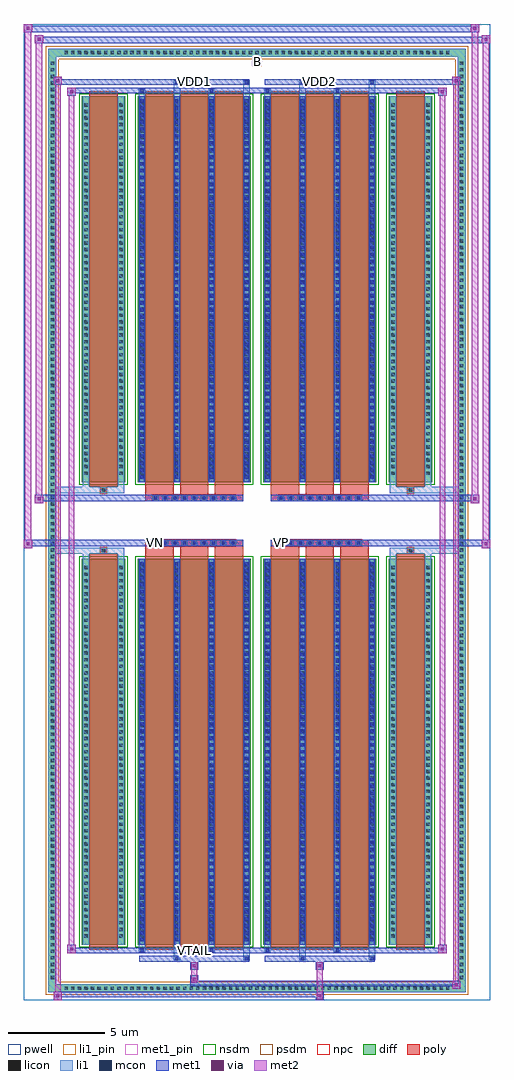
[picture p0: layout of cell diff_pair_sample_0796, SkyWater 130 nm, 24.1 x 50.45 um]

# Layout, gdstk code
import gdstk
lib = gdstk.Library(unit=1e-6, precision=5e-09)
def R(c, l, rs):  # rectangles x0, y0, x1, y1
    for r in rs: c.add(gdstk.rectangle(r[:2], r[2:], *l))
def A(c, l, x, y, w, h, nx, ny, dx, dy):  # array of equal rectangles
    R(c, l, [(x+i*dx, y+j*dy, x+i*dx+w, y+j*dy+h) for i in range(nx) for j in range(ny)])
def P(c, l, *ps):  # polygons
    for p in ps: c.add(gdstk.Polygon(p, *l))
pwell = (64, 44)
diff = (65, 20)
poly = (66, 20)
licon = (66, 44)
li1_pin = (67, 16)
li1 = (67, 20)
mcon = (67, 44)
met1_pin = (68, 16)
met1 = (68, 20)
via = (68, 44)
met2 = (69, 20)
nsdm = (93, 44)
psdm = (94, 20)
npc = (95, 20)

diff_pair_sample_0796 = lib.new_cell('diff_pair_sample_0796')
R(diff_pair_sample_0796, pwell, [(-12.05,-24.79,12.05,25.66), (-9.37,-22.98,-0.01,-0.8), (0.01,-22.98,9.37,-0.8), (-9.37,0.8,-0.01,22.98), (0.01,0.8,9.37,22.98)])
A(diff_pair_sample_0796, diff, -10.065, -24.39, 0.41, 0.41, 59, 2, 0.34, 48.37)
A(diff_pair_sample_0796, diff, -10.78, -23.835, 0.41, 0.41, 1, 140, 0, 0.34)
A(diff_pair_sample_0796, diff, 10.37, -23.835, 0.41, 0.41, 1, 140, 0, 0.34)
R(diff_pair_sample_0796, diff, [(-10.065,-24.39,10.065,-23.98), (-10.78,-23.835,-10.37,23.835), (10.37,-23.835,10.78,23.835), (-9.06,-21.935,-6.81,-1.985), (-6.17,-21.935,-0.32,-1.985), (0.32,-21.935,6.17,-1.985), (6.81,-21.935,9.06,-1.985), (-9.06,1.985,-6.81,21.935), (-6.17,1.985,-0.32,21.935), (0.32,1.985,6.17,21.935), (6.81,1.985,9.06,21.935), (-10.065,23.98,10.065,24.39)])
P(diff_pair_sample_0796, diff, [(10.78,24.39),(-10.78,24.39),(-10.78,-23.98),(-10.37,-23.98),(-10.37,23.98),(10.37,23.98),(10.37,-23.98),(-10.37,-23.98),(-10.78,-23.98),(-10.78,-24.39),(10.78,-24.39)])
A(diff_pair_sample_0796, poly, -5.78, -22.185, 1.47, 20.45, 3, 2, 1.8, 23.92)
A(diff_pair_sample_0796, poly, 0.71, -22.185, 1.47, 20.45, 3, 2, 1.8, 23.92)
A(diff_pair_sample_0796, poly, -5.78, -1.735, 1.47, 0.405, 3, 2, 1.8, 3.065)
A(diff_pair_sample_0796, poly, 0.71, -1.735, 1.47, 0.405, 3, 2, 1.8, 3.065)
A(diff_pair_sample_0796, poly, -5.41, -1.33, 0.33, 0.33, 9, 2, 0.5, 2.33)
A(diff_pair_sample_0796, poly, 1.08, -1.33, 0.33, 0.33, 9, 2, 0.5, 2.33)
R(diff_pair_sample_0796, poly, [(-8.67,-22.185,-7.2,-1.735), (7.2,-22.185,8.67,-1.735), (-8.1,-1.735,-7.77,-1.405), (-8.1,-1.735,-7.77,-1.405), (7.77,-1.735,8.1,-1.405), (7.77,-1.735,8.1,-1.405), (-5.78,-1.33,-0.71,-1), (0.71,-1.33,5.78,-1), (-5.78,1,-0.71,1.33), (0.71,1,5.78,1.33), (-8.1,1.405,-7.77,1.735), (-8.1,1.405,-7.77,1.735), (7.77,1.405,8.1,1.735), (7.77,1.405,8.1,1.735), (-8.67,1.735,-7.2,22.185), (7.2,1.735,8.67,22.185)])
A(diff_pair_sample_0796, licon, -9.945, -24.27, 0.17, 0.17, 59, 2, 0.34, 48.37)
A(diff_pair_sample_0796, licon, -10.66, -23.715, 0.17, 0.17, 1, 140, 0, 0.34)
A(diff_pair_sample_0796, licon, 10.49, -23.715, 0.17, 0.17, 1, 140, 0, 0.34)
A(diff_pair_sample_0796, licon, -8.92, -21.565, 0.17, 0.17, 1, 57, 0, 0.34)
A(diff_pair_sample_0796, licon, -7.12, -21.565, 0.17, 0.17, 1, 57, 0, 0.34)
A(diff_pair_sample_0796, licon, -6.03, -21.565, 0.17, 0.17, 4, 57, 1.8, 0.34)
A(diff_pair_sample_0796, licon, 0.46, -21.565, 0.17, 0.17, 4, 57, 1.8, 0.34)
A(diff_pair_sample_0796, licon, 6.95, -21.565, 0.17, 0.17, 1, 57, 0, 0.34)
A(diff_pair_sample_0796, licon, 8.75, -21.565, 0.17, 0.17, 1, 57, 0, 0.34)
A(diff_pair_sample_0796, licon, -5.33, -1.25, 0.17, 0.17, 9, 2, 0.5, 2.33)
A(diff_pair_sample_0796, licon, 1.16, -1.25, 0.17, 0.17, 9, 2, 0.5, 2.33)
A(diff_pair_sample_0796, licon, -8.92, 2.355, 0.17, 0.17, 1, 57, 0, 0.34)
A(diff_pair_sample_0796, licon, -7.12, 2.355, 0.17, 0.17, 1, 57, 0, 0.34)
A(diff_pair_sample_0796, licon, -6.03, 2.355, 0.17, 0.17, 4, 57, 1.8, 0.34)
A(diff_pair_sample_0796, licon, 0.46, 2.355, 0.17, 0.17, 4, 57, 1.8, 0.34)
A(diff_pair_sample_0796, licon, 6.95, 2.355, 0.17, 0.17, 1, 57, 0, 0.34)
A(diff_pair_sample_0796, licon, 8.75, 2.355, 0.17, 0.17, 1, 57, 0, 0.34)
R(diff_pair_sample_0796, licon, [(-8.02,-1.655,-7.85,-1.485), (7.85,-1.655,8.02,-1.485), (-8.02,1.485,-7.85,1.655), (7.85,1.485,8.02,1.655)])
R(diff_pair_sample_0796, li1_pin, [(-0.25,23.48,0.25,23.98)])
A(diff_pair_sample_0796, li1, -10.025, -24.35, 0.33, 0.33, 59, 2, 0.34, 48.37)
A(diff_pair_sample_0796, li1, -10.74, -23.795, 0.33, 0.33, 1, 140, 0, 0.34)
A(diff_pair_sample_0796, li1, 10.41, -23.795, 0.33, 0.33, 1, 140, 0, 0.34)
A(diff_pair_sample_0796, li1, -6.11, -21.935, 0.33, 19.95, 4, 2, 1.8, 23.92)
A(diff_pair_sample_0796, li1, 0.38, -21.935, 0.33, 19.95, 4, 2, 1.8, 23.92)
A(diff_pair_sample_0796, li1, -6.03, -21.765, 0.17, 0.17, 4, 55, 1.8, 0.36)
A(diff_pair_sample_0796, li1, -6.03, -21.765, 0.17, 19.61, 4, 2, 1.8, 23.92)
A(diff_pair_sample_0796, li1, 0.46, -21.765, 0.17, 0.17, 4, 55, 1.8, 0.36)
A(diff_pair_sample_0796, li1, 0.46, -21.765, 0.17, 19.61, 4, 2, 1.8, 23.92)
A(diff_pair_sample_0796, li1, -9, -21.645, 0.33, 0.33, 1, 57, 0, 0.34)
A(diff_pair_sample_0796, li1, -7.2, -21.645, 0.33, 0.33, 1, 57, 0, 0.34)
A(diff_pair_sample_0796, li1, -6.11, -21.645, 0.33, 0.33, 4, 57, 1.8, 0.34)
A(diff_pair_sample_0796, li1, 0.38, -21.645, 0.33, 0.33, 4, 57, 1.8, 0.34)
A(diff_pair_sample_0796, li1, 6.87, -21.645, 0.33, 0.33, 1, 57, 0, 0.34)
A(diff_pair_sample_0796, li1, 8.67, -21.645, 0.33, 0.33, 1, 57, 0, 0.34)
A(diff_pair_sample_0796, li1, -5.41, -1.33, 0.33, 0.33, 9, 2, 0.5, 2.33)
A(diff_pair_sample_0796, li1, 1.08, -1.33, 0.33, 0.33, 9, 2, 0.5, 2.33)
A(diff_pair_sample_0796, li1, -6.03, 2.155, 0.17, 0.17, 4, 55, 1.8, 0.36)
A(diff_pair_sample_0796, li1, 0.46, 2.155, 0.17, 0.17, 4, 55, 1.8, 0.36)
A(diff_pair_sample_0796, li1, -9, 2.275, 0.33, 0.33, 1, 57, 0, 0.34)
A(diff_pair_sample_0796, li1, -7.2, 2.275, 0.33, 0.33, 1, 57, 0, 0.34)
A(diff_pair_sample_0796, li1, -6.11, 2.275, 0.33, 0.33, 4, 57, 1.8, 0.34)
A(diff_pair_sample_0796, li1, 0.38, 2.275, 0.33, 0.33, 4, 57, 1.8, 0.34)
A(diff_pair_sample_0796, li1, 6.87, 2.275, 0.33, 0.33, 1, 57, 0, 0.34)
A(diff_pair_sample_0796, li1, 8.67, 2.275, 0.33, 0.33, 1, 57, 0, 0.34)
R(diff_pair_sample_0796, li1, [(-10.78,-24.39,-10.37,-23.98), (-10.78,-24.39,-10.37,-23.98), (-10.37,-24.39,10.37,-23.98), (10.37,-24.39,10.78,-23.98), (10.37,-24.39,10.78,-23.98), (-10.78,-23.98,-10.37,23.98), (10.37,-23.98,10.78,23.98), (-4.31,-22.74,-3.98,-21.935), (-4.23,-22.74,-4.06,-22.57), (-0.71,-22.74,-0.38,-21.935), (-0.63,-22.74,-0.46,-22.57), (2.18,-22.74,2.51,-21.935), (2.26,-22.74,2.43,-22.57), (5.78,-22.74,6.11,-21.935), (5.86,-22.74,6.03,-22.57), (-6.11,-22.31,-5.78,-21.935), (-6.03,-22.31,-5.86,-22.14), (-2.51,-22.31,-2.18,-21.935), (-2.43,-22.31,-2.26,-22.14), (0.38,-22.31,0.71,-21.935), (0.46,-22.31,0.63,-22.14), (3.98,-22.31,4.31,-21.935), (4.06,-22.31,4.23,-22.14), (-9,-21.935,-8.67,-1.985), (-7.2,-21.935,-6.87,-1.985), (6.87,-21.935,7.2,-1.985), (8.67,-21.935,9,-1.985), (-9,-1.985,-8.67,-1.405), (-7.2,-1.985,-6.87,-1.405), (6.87,-1.985,7.2,-1.405), (8.67,-1.985,9,-1.405), (-10.78,-1.735,-8.1,-1.405), (-9,-1.735,-8.1,-1.405), (-8.1,-1.735,-7.77,-1.405), (-7.77,-1.735,-6.87,-1.405), (6.87,-1.735,7.77,-1.405), (7.77,-1.735,8.1,-1.405), (7.77,-1.735,10.78,-1.405), (8.1,-1.735,9,-1.405), (-10.78,1.405,-8.1,1.735), (-9,1.405,-8.1,1.735), (-9,1.405,-8.67,1.985), (-8.1,1.405,-7.77,1.735), (-7.77,1.405,-6.87,1.735), (-7.2,1.405,-6.87,1.985), (6.87,1.405,7.77,1.735), (6.87,1.405,7.2,1.985), (7.77,1.405,8.1,1.735), (7.77,1.405,10.78,1.735), (8.1,1.405,9,1.735), (8.67,1.405,9,1.985), (-9,1.985,-8.67,21.935), (-7.2,1.985,-6.87,21.935), (6.87,1.985,7.2,21.935), (8.67,1.985,9,21.935), (-6.11,21.935,-5.78,22.31), (-4.31,21.935,-3.98,22.74), (-2.51,21.935,-2.18,22.31), (-0.71,21.935,-0.38,22.74), (0.38,21.935,0.71,22.31), (2.18,21.935,2.51,22.74), (3.98,21.935,4.31,22.31), (5.78,21.935,6.11,22.74), (-6.03,22.14,-5.86,22.31), (-2.43,22.14,-2.26,22.31), (0.46,22.14,0.63,22.31), (4.06,22.14,4.23,22.31), (-4.23,22.57,-4.06,22.74), (-0.63,22.57,-0.46,22.74), (2.26,22.57,2.43,22.74), (5.86,22.57,6.03,22.74), (-10.78,23.98,-10.37,24.39), (-10.78,23.98,-10.37,24.39), (-10.37,23.98,10.37,24.39), (10.37,23.98,10.78,24.39), (10.37,23.98,10.78,24.39)])
A(diff_pair_sample_0796, mcon, -6.03, -21.765, 0.17, 0.17, 4, 55, 1.8, 0.36)
A(diff_pair_sample_0796, mcon, 0.46, -21.765, 0.17, 0.17, 4, 55, 1.8, 0.36)
A(diff_pair_sample_0796, mcon, -5.33, -1.25, 0.17, 0.17, 9, 2, 0.5, 2.33)
A(diff_pair_sample_0796, mcon, 1.16, -1.25, 0.17, 0.17, 9, 2, 0.5, 2.33)
A(diff_pair_sample_0796, mcon, -6.03, 2.155, 0.17, 0.17, 4, 55, 1.8, 0.36)
A(diff_pair_sample_0796, mcon, 0.46, 2.155, 0.17, 0.17, 4, 55, 1.8, 0.36)
R(diff_pair_sample_0796, mcon, [(-4.23,-22.74,-4.06,-22.57), (-0.63,-22.74,-0.46,-22.57), (2.26,-22.74,2.43,-22.57), (5.86,-22.74,6.03,-22.57), (-6.03,-22.31,-5.86,-22.14), (-2.43,-22.31,-2.26,-22.14), (0.46,-22.31,0.63,-22.14), (4.06,-22.31,4.23,-22.14), (-6.03,22.14,-5.86,22.31), (-2.43,22.14,-2.26,22.31), (0.46,22.14,0.63,22.31), (4.06,22.14,4.23,22.31), (-4.23,22.57,-4.06,22.74), (-0.63,22.57,-0.46,22.74), (2.26,22.57,2.43,22.74), (5.86,22.57,6.03,22.74)])
R(diff_pair_sample_0796, met1_pin, [(-3.38,-22.35,-3.11,-22.08), (-5.38,-1.29,-5.11,-1.02), (1.11,-1.29,1.38,-1.02), (-3.38,22.53,-3.11,22.8), (3.11,22.53,3.38,22.8)])
A(diff_pair_sample_0796, met1, -6.09, -21.935, 0.29, 19.95, 4, 2, 1.8, 23.92)
A(diff_pair_sample_0796, met1, 0.4, -21.935, 0.29, 19.95, 4, 2, 1.8, 23.92)
A(diff_pair_sample_0796, met1, -6.09, -21.825, 0.29, 0.29, 4, 55, 1.8, 0.36)
A(diff_pair_sample_0796, met1, 0.4, -21.825, 0.29, 0.29, 4, 55, 1.8, 0.36)
A(diff_pair_sample_0796, met1, -5.39, -1.31, 0.29, 0.29, 9, 2, 0.5, 2.33)
A(diff_pair_sample_0796, met1, 1.1, -1.31, 0.29, 0.29, 9, 2, 0.5, 2.33)
A(diff_pair_sample_0796, met1, -6.09, 2.095, 0.29, 0.29, 4, 55, 1.8, 0.36)
A(diff_pair_sample_0796, met1, 0.4, 2.095, 0.29, 0.29, 4, 55, 1.8, 0.36)
R(diff_pair_sample_0796, met1, [(-10.51,-24.79,-10.08,-24.36), (3.03,-24.79,3.46,-24.36), (-10.51,-24.65,3.46,-24.36), (10.08,-24.22,10.51,-23.79), (-3.46,-24.08,10.51,-23.79), (-3.46,-23.94,-3.03,-23.51), (-3.46,-23.23,-3.03,-22.8), (3.03,-23.23,3.46,-22.8), (-6.09,-22.8,-0.4,-22.51), (-4.29,-22.8,-4,-22.51), (-0.69,-22.8,-0.4,-22.51), (0.4,-22.8,6.09,-22.51), (2.2,-22.8,2.49,-22.51), (5.8,-22.8,6.09,-22.51), (-9.8,-22.37,-9.37,-21.94), (-9.8,-22.37,-6.09,-22.08), (-6.09,-22.37,-5.8,-22.08), (-6.09,-22.37,-0.4,-22.08), (-2.49,-22.37,-2.2,-22.08), (-0.4,-22.37,0.4,-22.08), (0.4,-22.37,0.69,-22.08), (0.4,-22.37,6.09,-22.08), (4,-22.37,4.29,-22.08), (6.09,-22.37,9.8,-22.08), (9.37,-22.37,9.8,-21.94), (-12.05,-1.43,-11.62,-1), (11.62,-1.43,12.05,-1), (-12.05,-1.33,-0.71,-1), (-5.78,-1.33,-0.71,-1), (0.71,-1.33,5.78,-1), (0.71,-1.33,12.05,-1), (-11.48,0.9,-11.05,1.33), (11.05,0.9,11.48,1.33), (-11.48,1,-5.78,1.33), (-5.78,1,-0.71,1.33), (0.71,1,5.78,1.33), (5.78,1,11.48,1.33), (-9.8,21.94,-9.37,22.37), (9.37,21.94,9.8,22.37), (-9.8,22.08,-6.09,22.37), (-6.09,22.08,-5.8,22.37), (-6.09,22.08,-0.4,22.37), (-2.49,22.08,-2.2,22.37), (-0.4,22.08,0.4,22.37), (0.4,22.08,0.69,22.37), (0.4,22.08,6.09,22.37), (4,22.08,4.29,22.37), (6.09,22.08,9.8,22.37), (-10.51,22.51,-10.08,22.94), (-10.51,22.51,-6.09,22.8), (-6.09,22.51,-0.4,22.8), (-4.29,22.51,-4,22.8), (-0.69,22.51,-0.4,22.8), (0.4,22.51,6.09,22.8), (2.2,22.51,2.49,22.8), (5.8,22.51,6.09,22.8), (6.09,22.51,10.51,22.8), (10.08,22.51,10.51,22.94), (-11.48,24.66,-11.05,25.09), (-11.48,24.66,-9.37,24.99), (-9.37,24.66,9.37,24.99), (9.37,24.66,12.05,24.99), (11.62,24.66,12.05,25.09), (-12.05,25.23,-11.62,25.66), (-12.05,25.23,-9.37,25.56), (-9.37,25.23,9.37,25.56), (9.37,25.23,11.48,25.56), (11.05,25.23,11.48,25.66)])
R(diff_pair_sample_0796, via, [(-10.37,-24.65,-10.22,-24.5), (3.17,-24.65,3.32,-24.5), (10.22,-24.08,10.37,-23.93), (-3.32,-23.8,-3.17,-23.65), (-3.32,-23.09,-3.17,-22.94), (3.17,-23.09,3.32,-22.94), (-9.66,-22.23,-9.51,-22.08), (9.51,-22.23,9.66,-22.08), (-11.91,-1.29,-11.76,-1.14), (11.76,-1.29,11.91,-1.14), (-11.34,1.04,-11.19,1.19), (11.19,1.04,11.34,1.19), (-9.66,22.08,-9.51,22.23), (9.51,22.08,9.66,22.23), (-10.37,22.65,-10.22,22.8), (10.22,22.65,10.37,22.8), (-11.34,24.8,-11.19,24.95), (11.76,24.8,11.91,24.95), (-11.91,25.37,-11.76,25.52), (11.19,25.37,11.34,25.52)])
R(diff_pair_sample_0796, met2, [(-10.51,-24.79,-10.08,-24.36), (-10.44,-24.79,-10.15,22.94), (-10.15,-24.79,-10.08,-24.36), (-10.46,-24.74,-10.13,-24.41), (3.08,-24.74,3.41,-24.41), (3.08,-24.41,3.41,-23.18), (10.08,-24.22,10.51,-23.79), (10.15,-24.22,10.44,22.94), (10.44,-24.22,10.51,-23.79), (10.13,-24.17,10.46,-23.84), (-3.41,-23.89,-3.08,-23.56), (-3.41,-23.56,-3.08,-23.18), (-3.41,-23.18,-3.08,-22.85), (3.08,-23.18,3.41,-22.85), (-9.8,-22.37,-9.37,-21.94), (-9.73,-22.37,-9.44,22.37), (-9.44,-22.37,-9.37,-21.94), (9.37,-22.37,9.8,-21.94), (9.44,-22.37,9.73,22.37), (9.73,-22.37,9.8,-21.94), (-9.75,-22.32,-9.42,-21.99), (9.42,-22.32,9.75,-21.99), (-12.05,-1.43,-11.62,-1), (-12,-1.43,-11.67,25.66), (-11.67,-1.43,-11.62,-1), (11.62,-1.43,12.05,-1), (11.67,-1.43,12,25.09), (12,-1.43,12.05,-1), (-12,-1.38,-11.67,-1.05), (11.67,-1.38,12,-1.05), (-11.48,0.9,-11.05,1.33), (-11.43,0.9,-11.1,25.09), (-11.1,0.9,-11.05,1.33), (11.05,0.9,11.48,1.33), (11.1,0.9,11.43,25.66), (11.43,0.9,11.48,1.33), (-11.43,0.95,-11.1,1.28), (11.1,0.95,11.43,1.28), (-9.8,21.94,-9.37,22.37), (-9.44,21.94,-9.37,22.37), (9.37,21.94,9.8,22.37), (9.73,21.94,9.8,22.37), (-9.75,21.99,-9.42,22.32), (9.42,21.99,9.75,22.32), (-10.51,22.51,-10.08,22.94), (-10.15,22.51,-10.08,22.94), (10.08,22.51,10.51,22.94), (10.44,22.51,10.51,22.94), (-10.46,22.56,-10.13,22.89), (10.13,22.56,10.46,22.89), (-11.48,24.66,-11.05,25.09), (-11.1,24.66,-11.05,25.09), (11.62,24.66,12.05,25.09), (12,24.66,12.05,25.09), (-11.43,24.71,-11.1,25.04), (11.67,24.71,12,25.04), (-12.05,25.23,-11.62,25.66), (-11.67,25.23,-11.62,25.66), (11.05,25.23,11.48,25.66), (11.43,25.23,11.48,25.66), (-12,25.28,-11.67,25.61), (11.1,25.28,11.43,25.61)])
R(diff_pair_sample_0796, nsdm, [(-9.19,-22.065,-6.68,-1.855), (-6.3,-22.065,-0.19,-1.855), (0.19,-22.065,6.3,-1.855), (6.68,-22.065,9.19,-1.855), (-9.19,1.855,-6.68,22.065), (-6.3,1.855,-0.19,22.065), (0.19,1.855,6.3,22.065), (6.68,1.855,9.19,22.065)])
P(diff_pair_sample_0796, psdm, [(10.91,24.52),(-10.91,24.52),(-10.91,-23.85),(-10.24,-23.85),(-10.24,23.85),(10.24,23.85),(10.24,-23.85),(-10.24,-23.85),(-10.91,-23.85),(-10.91,-24.52),(10.91,-24.52)])
A(diff_pair_sample_0796, npc, -5.43, -1.35, 0.37, 0.37, 9, 2, 0.5, 2.33)
A(diff_pair_sample_0796, npc, 1.06, -1.35, 0.37, 0.37, 9, 2, 0.5, 2.33)
R(diff_pair_sample_0796, npc, [(-8.12,-1.755,-7.75,-1.385), (7.75,-1.755,8.12,-1.385), (-5.43,-1.35,-4.56,-0.98), (-5.43,-1.35,-4.56,-0.98), (-4.93,-1.35,-4.06,-0.98), (-4.93,-1.35,-4.06,-0.98), (-4.43,-1.35,-3.56,-0.98), (-4.43,-1.35,-3.56,-0.98), (-3.93,-1.35,-3.06,-0.98), (-3.93,-1.35,-3.06,-0.98), (-3.43,-1.35,-2.56,-0.98), (-3.43,-1.35,-2.56,-0.98), (-2.93,-1.35,-2.06,-0.98), (-2.93,-1.35,-2.06,-0.98), (-2.43,-1.35,-1.56,-0.98), (-2.43,-1.35,-1.56,-0.98), (-1.93,-1.35,-1.06,-0.98), (-1.93,-1.35,-1.06,-0.98), (1.06,-1.35,1.93,-0.98), (1.06,-1.35,1.93,-0.98), (1.56,-1.35,2.43,-0.98), (1.56,-1.35,2.43,-0.98), (2.06,-1.35,2.93,-0.98), (2.06,-1.35,2.93,-0.98), (2.56,-1.35,3.43,-0.98), (2.56,-1.35,3.43,-0.98), (3.06,-1.35,3.93,-0.98), (3.06,-1.35,3.93,-0.98), (3.56,-1.35,4.43,-0.98), (3.56,-1.35,4.43,-0.98), (4.06,-1.35,4.93,-0.98), (4.06,-1.35,4.93,-0.98), (4.56,-1.35,5.43,-0.98), (4.56,-1.35,5.43,-0.98), (-5.43,0.98,-4.56,1.35), (-5.43,0.98,-4.56,1.35), (-4.93,0.98,-4.06,1.35), (-4.93,0.98,-4.06,1.35), (-4.43,0.98,-3.56,1.35), (-4.43,0.98,-3.56,1.35), (-3.93,0.98,-3.06,1.35), (-3.93,0.98,-3.06,1.35), (-3.43,0.98,-2.56,1.35), (-3.43,0.98,-2.56,1.35), (-2.93,0.98,-2.06,1.35), (-2.93,0.98,-2.06,1.35), (-2.43,0.98,-1.56,1.35), (-2.43,0.98,-1.56,1.35), (-1.93,0.98,-1.06,1.35), (-1.93,0.98,-1.06,1.35), (1.06,0.98,1.93,1.35), (1.06,0.98,1.93,1.35), (1.56,0.98,2.43,1.35), (1.56,0.98,2.43,1.35), (2.06,0.98,2.93,1.35), (2.06,0.98,2.93,1.35), (2.56,0.98,3.43,1.35), (2.56,0.98,3.43,1.35), (3.06,0.98,3.93,1.35), (3.06,0.98,3.93,1.35), (3.56,0.98,4.43,1.35), (3.56,0.98,4.43,1.35), (4.06,0.98,4.93,1.35), (4.06,0.98,4.93,1.35), (4.56,0.98,5.43,1.35), (4.56,0.98,5.43,1.35), (-8.12,1.385,-7.75,1.755), (7.75,1.385,8.12,1.755)])
diff_pair_sample_0796.add(gdstk.Label('VTAIL', (-3.245,-22.215), layer=68, texttype=5))
diff_pair_sample_0796.add(gdstk.Label('VN', (-5.245,-1.155), layer=68, texttype=5))
diff_pair_sample_0796.add(gdstk.Label('VP', (1.245,-1.155), layer=68, texttype=5))
diff_pair_sample_0796.add(gdstk.Label('B', (0,23.73), layer=67, texttype=5))
diff_pair_sample_0796.add(gdstk.Label('VDD2', (3.245,22.665), layer=68, texttype=5))
diff_pair_sample_0796.add(gdstk.Label('VDD1', (-3.245,22.665), layer=68, texttype=5))

lib.write_gds('diff_pair_sample_0796.gds')
